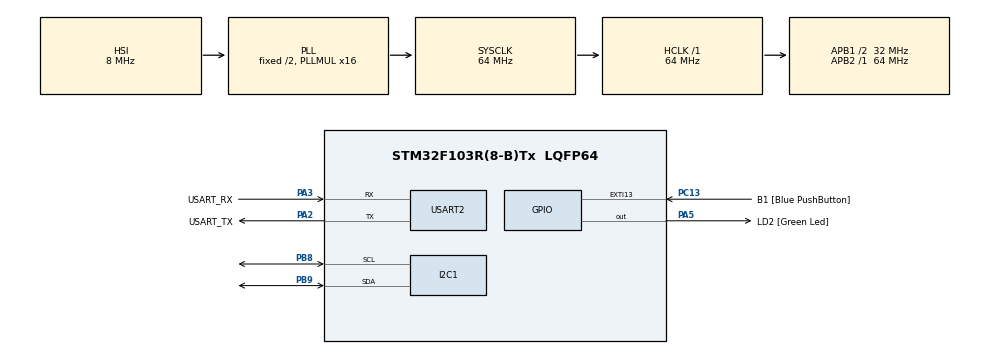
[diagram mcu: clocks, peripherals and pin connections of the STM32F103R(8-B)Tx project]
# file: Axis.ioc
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Mcu.Family=STM32F1
Mcu.Name=STM32F103R(8-B)Tx
Mcu.Package=LQFP64
NVIC.EXTI15_10_IRQn=true\:0\:0\:false\:false\:true\:true\:true\:true
NVIC.PriorityGroup=NVIC_PRIORITYGROUP_4
PA13.GPIO_Label=TMS
PA13.Mode=Serial_Wire
PA13.Signal=SYS_JTMS-SWDIO
PA14.GPIO_Label=TCK
PA14.Mode=Serial_Wire
PA14.Signal=SYS_JTCK-SWCLK
PA2.GPIO_Label=USART_TX
PA2.GPIO_Mode=GPIO_MODE_AF_PP
PA2.GPIO_PuPd=GPIO_NOPULL
PA2.GPIO_Speed=GPIO_SPEED_FREQ_LOW
PA2.Mode=Asynchronous
PA2.Signal=USART2_TX
PA3.GPIO_Label=USART_RX
PA3.GPIO_Mode=GPIO_MODE_AF_PP
PA3.GPIO_PuPd=GPIO_NOPULL
PA3.GPIO_Speed=GPIO_SPEED_FREQ_LOW
PA3.Mode=Asynchronous
PA3.Signal=USART2_RX
PA5.GPIO_Label=LD2 [Green Led]
PA5.GPIO_ModeDefaultOutputPP=GPIO_MODE_OUTPUT_PP
PA5.GPIO_PuPd=GPIO_NOPULL
PA5.GPIO_Speed=GPIO_SPEED_FREQ_LOW
PA5.Signal=GPIO_Output
PB3.GPIO_Label=SWO
PB3.Signal=SYS_JTDO-TRACESWO
PB8.Mode=I2C
PB8.Signal=I2C1_SCL
PB9.Mode=I2C
PB9.Signal=I2C1_SDA
PC13-TAMPER-RTC.GPIO_Label=B1 [Blue PushButton]
PC13-TAMPER-RTC.GPIO_PuPd=GPIO_NOPULL
PC13-TAMPER-RTC.Signal=GPXTI13
PC14-OSC32_IN.Mode=LSE-External-Oscillator
PC14-OSC32_IN.Signal=RCC_OSC32_IN
PC15-OSC32_OUT.Mode=LSE-External-Oscillator
PC15-OSC32_OUT.Signal=RCC_OSC32_OUT
PD0-OSC_IN.Mode=HSE-External-Clock-Source
PD0-OSC_IN.Signal=RCC_OSC_IN
PD1-OSC_OUT.Mode=HSE-External-Clock-Source
PD1-OSC_OUT.Signal=RCC_OSC_OUT
ProjectManager.HeapSize=0x200
ProjectManager.StackSize=0x400
ProjectManager.TargetToolchain=CMake
RCC.AHBFreq_Value=64000000
RCC.APB1CLKDivider=RCC_HCLK_DIV2
RCC.APB1Freq_Value=32000000
RCC.APB1TimFreq_Value=64000000
RCC.APB2Freq_Value=64000000
RCC.APB2TimFreq_Value=64000000
RCC.HCLKFreq_Value=64000000
RCC.PLLMUL=RCC_PLL_MUL16
RCC.RTCClockSelection=RCC_RTCCLKSOURCE_LSE
RCC.SYSCLKFreq_VALUE=64000000
RCC.SYSCLKSource=RCC_SYSCLKSOURCE_PLLCLK
RCC.USBFreq_Value=64000000
USART2.VirtualMode=VM_ASYNC
board=NUCLEO-F103RB

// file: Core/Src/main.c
/* USER CODE BEGIN Header */
/**
  ******************************************************************************
  * @file           : main.c
  * @brief          : Main program body
  ******************************************************************************
  * @attention
  *
  * Copyright (c) 2025 STMicroelectronics.
  * All rights reserved.
  *
  * This software is licensed under terms that can be found in the LICENSE file
  * in the root directory of this software component.
  * If no LICENSE file comes with this software, it is provided AS-IS.
  *
  ******************************************************************************
  */
/* USER CODE END Header */
#include "main.h"
#include "i2c.h"
#include "usart.h"
#include "gpio.h"

/* USER CODE BEGIN Includes */
#include "util.h"
#include "retarget.h"
#include "imu.h"
#include "rcd/matrix.h"
#include "rcd/moore_penrose_pseudo_inverse.h"

#include "stm32f1xx.h"
#include <math.h>
#include <stdio.h>

/* USER CODE END Includes */

void SystemClock_Config(void);

int main(void)
{

  /* MCU Configuration--------------------------------------------------------*/

  /* Reset of all peripherals, Initializes the Flash interface and the Systick. */
  HAL_Init();

  /* Configure the system clock */
  SystemClock_Config();

  /* Initialize all configured peripherals */
  MX_GPIO_Init();
  MX_USART2_UART_Init();
  MX_I2C1_Init();
  /* USER CODE BEGIN 2 */
  RetargetInit(&huart2);

  // Initialize imu
  imu_t imu;
  if(imu_init(&imu) != 0)
  {
    return 1;
  }

  /* USER CODE END 2 */

  /* Infinite loop */
  /* USER CODE BEGIN WHILE */
  print("Initialized!\r\n");
  uint32_t last_time = HAL_GetTick();
  while (1)
  {
    if(HAL_GetTick() - last_time < 10)
    {
      continue;
    }
    // Update last_time
    last_time += 10;

    // Process imu data
    if(imu_process(&imu) != 0)
    {
      return 1;
    }

    // Send imu data to huart as formatted string
    // Format: <gx> <gy> <gz> <dpsx> <dpsy> <dpsz>
    printf("%f %f %f %f %f %f\r\n", imu.acc[0], imu.acc[1], imu.acc[2], imu.gyr[0], imu.gyr[1], imu.gyr[2]);

    /* USER CODE END WHILE */

    /* USER CODE BEGIN 3 */
  }
  return 0;
  /* USER CODE END 3 */
}

void SystemClock_Config(void)
{
  RCC_OscInitTypeDef RCC_OscInitStruct = {0};
  RCC_ClkInitTypeDef RCC_ClkInitStruct = {0};

  /** Initializes the RCC Oscillators according to the specified parameters
  * in the RCC_OscInitTypeDef structure.
  */
  RCC_OscInitStruct.OscillatorType = RCC_OSCILLATORTYPE_HSI;
  RCC_OscInitStruct.HSIState = RCC_HSI_ON;
  RCC_OscInitStruct.HSICalibrationValue = RCC_HSICALIBRATION_DEFAULT;
  RCC_OscInitStruct.PLL.PLLState = RCC_PLL_ON;
  RCC_OscInitStruct.PLL.PLLSource = RCC_PLLSOURCE_HSI_DIV2;
  RCC_OscInitStruct.PLL.PLLMUL = RCC_PLL_MUL16;
  if (HAL_RCC_OscConfig(&RCC_OscInitStruct) != HAL_OK)
  {
    Error_Handler();
  }

  /** Initializes the CPU, AHB and APB buses clocks
  */
  RCC_ClkInitStruct.ClockType = RCC_CLOCKTYPE_HCLK|RCC_CLOCKTYPE_SYSCLK
                              |RCC_CLOCKTYPE_PCLK1|RCC_CLOCKTYPE_PCLK2;
  RCC_ClkInitStruct.SYSCLKSource = RCC_SYSCLKSOURCE_PLLCLK;
  RCC_ClkInitStruct.AHBCLKDivider = RCC_SYSCLK_DIV1;
  RCC_ClkInitStruct.APB1CLKDivider = RCC_HCLK_DIV2;
  RCC_ClkInitStruct.APB2CLKDivider = RCC_HCLK_DIV1;

  if (HAL_RCC_ClockConfig(&RCC_ClkInitStruct, FLASH_LATENCY_2) != HAL_OK)
  {
    Error_Handler();
  }
}

void Error_Handler(void)
{
  /* USER CODE BEGIN Error_Handler_Debug */
  /* User can add his own implementation to report the HAL error return state */
  printf("Error occured!!\r\n");
  __disable_irq();
  while (1)
  {
  }
  /* USER CODE END Error_Handler_Debug */
}

#ifdef  USE_FULL_ASSERT
/**
  * @brief  Reports the name of the source file and the source line number
  *         where the assert_param error has occurred.
  * @param  file: pointer to the source file name
  * @param  line: assert_param error line source number
  * @retval None
  */
void assert_failed(uint8_t *file, uint32_t line)
{
  /* USER CODE BEGIN 6 */
  /* User can add his own implementation to report the file name and line number,
     ex: printf("Wrong parameters value: file %s on line %d\r\n", file, line) */
  print("Assertion failed: file %s on line %lu\r\n", file, line);
  Error_Handler();
  /* USER CODE END 6 */
}
#endif /* USE_FULL_ASSERT */
